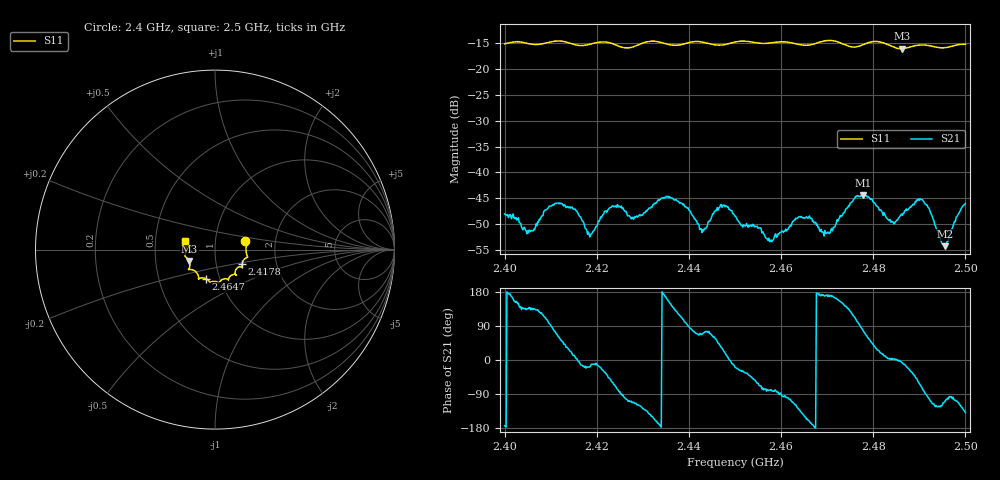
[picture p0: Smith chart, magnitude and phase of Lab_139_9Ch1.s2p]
# Hz S RI R 50
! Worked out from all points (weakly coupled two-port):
!   601 points, 2.4 GHz to 2.5 GHz, reference 50 ohm
!   highest |S21| = -44.40 dB at 2.4778 GHz (marker M1); lowest = -54.3 dB at 2.4955 GHz (marker M2)
!   lowest |S11| = -16.1 dB at 2.4862 GHz (marker M3), VSWR 1.37, Z = 37.1 - j4.81 ohm
!   |S11| at or under -10 dB: start of sweep to end of sweep
!   S12 and S22 are empty: the file has one direction only
!   S11 on the Smith chart (normalised r, x): 2.4 GHz: 1.40, +0.13; 2.4178 GHz: 1.33, -0.22; 2.4647 GHz: 0.86, -0.29; 2.5 GHz: 0.71, +0.07
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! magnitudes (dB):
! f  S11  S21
! 2.4 GHz  -15.1  -48.0
! 2.4052 GHz  -15.1  -51.7
! 2.4112 GHz  -14.6  -46.0
! 2.4167 GHz  -15.5  -48.9
! 2.4178 GHz  -15.3  -51.2
! 2.4232 GHz  -15.0  -46.7
! 2.4278 GHz  -15.7  -48.8
! 2.4333 GHz  -14.7  -45.3
! 2.4385 GHz  -15.2  -46.0
! 2.4428 GHz  -14.8  -51.6
! 2.4472 GHz  -15.3  -46.7
! 2.45 GHz  -14.8  -48.5
! 2.4577 GHz  -15.0  -53.4
! 2.4647 GHz  -15.4  -48.7
! 2.4667 GHz  -15.3  -48.9
! 2.4702 GHz  -14.5  -51.5
! 2.4778 GHz  -15.3  -44.4
! 2.4833 GHz  -15.3  -49.1
! 2.4862 GHz  -16.1  -48.0
! 2.4907 GHz  -15.3  -45.3
! 2.4955 GHz  -15.9  -54.3
! 2.5 GHz  -15.2  -46.0
